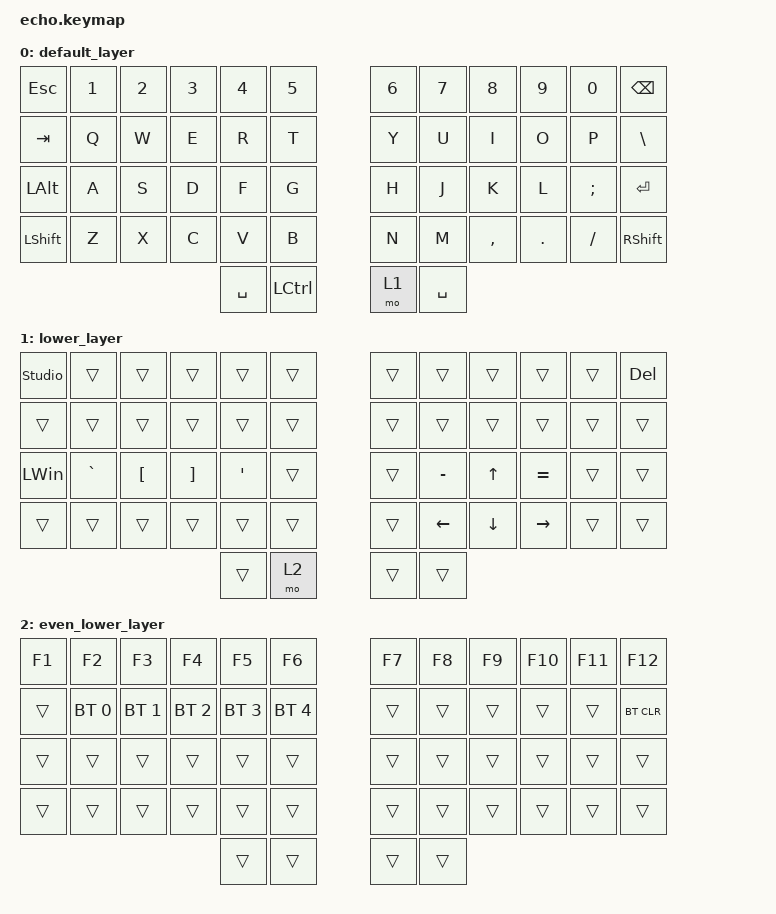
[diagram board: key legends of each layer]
#include <behaviors.dtsi>
#include <dt-bindings/zmk/keys.h>
#include <dt-bindings/zmk/bt.h>
#include <dt-bindings/zmk/outputs.h>


/ {
        keymap {
                compatible = "zmk,keymap";

                default_layer {
// ---------------------------------------------------------------------------------
// |   `  |  1  |  2  |  3  |  4  |  5  |     |  6  |  7  |  8  |  9  |  0  | BKSP |
// |  TAB |  Q  |  W  |  E  |  R  |  T  |     |  Y  |  U  |  I  |  O  |  P  |  \   |
// | CAPS |  A  |  S  |  D  |  F  |  G  |     |  H  |  J  |  K  |  L  |  ;  |  ENT |
// | SHFT |  Z  |  X  |  C  |  V  |  B  |     |  N  |  M  |  ,  |  .  |  /  | APOS |
//                          | SPC | SPC |     | SPC | LOW |
                        bindings = <
   &kp ESC    &kp N1    &kp N2    &kp N3     &kp N4     &kp N5               &kp N6     &kp N7  &kp N8     &kp N9    &kp N0    &kp BSPC
   &kp TAB    &kp Q     &kp W     &kp E      &kp R      &kp T                &kp Y      &kp U   &kp I      &kp O     &kp P     &kp BSLH
   &kp LALT   &kp A     &kp S     &kp D      &kp F      &kp G                &kp H      &kp J   &kp K      &kp L     &kp SEMI  &kp RET
   &kp LSHFT  &kp Z     &kp X     &kp C      &kp V      &kp B                &kp N      &kp M   &kp COMMA  &kp DOT   &kp FSLH  &kp RSHFT
                                             &kp SPACE  &kp LCTRL            &mo 1      &kp SPACE
                        >;
                };
                lower_layer {
// ------------------------------------------------------------------------------------------------------------
// |       |  BT1  |  BT2  |  BT3  |  BT4  |  BT5  |          |       |       |       |       |       | BTCLR |
// |       |       |       |       |       |       |          |       |       |       |       |       |       |
// |       |       |       | LPAR  | RPAR  |       |          |       | LBKT  | RBKT  |       |       |       |
//                                 |       |       |          |       |       |
                       bindings = <
   &studio_unlock  &trans         &trans         &trans         &trans         &trans                 &trans    &trans    &trans   &trans    &trans  &kp DEL
   &trans          &trans         &trans         &trans         &trans         &trans                 &trans    &trans    &trans   &trans    &trans  &trans
   &kp LWIN        &kp GRAVE      &kp LBKT       &kp RBKT       &kp SQT        &trans                 &trans    &kp MINUS &kp UP   &kp EQUAL &trans  &trans
   &trans          &trans         &trans         &trans         &trans         &trans                 &trans    &kp LEFT  &kp DOWN &kp RIGHT &trans  &trans
                                                                &trans         &mo 2                  &trans    &trans                        
                                                                >;
                };
                even_lower_layer {
// ------------------------------------------------------------------------------------------------------------
// |       |  BT1  |  BT2  |  BT3  |  BT4  |  BT5  |          |       |       |       |       |       | BTCLR |
// |       |       |       |       |       |       |          |       |       |       |       |       |       |
// |       |       |       | LPAR  | RPAR  |       |          |       | LBKT  | RBKT  |       |       |       |
//                                 |       |       |          |       |       |
                       bindings = <
   &kp F1    &kp F2         &kp F3         &kp F4         &kp F5         &kp F6                 &kp F7    &kp F8    &kp F9   &kp F10  &kp F11     &kp F12
   &trans    &bt BT_SEL 0   &bt BT_SEL 1   &bt BT_SEL 2   &bt BT_SEL 3   &bt BT_SEL 4           &trans    &trans    &trans   &trans   &trans      &bt BT_CLR
   &trans    &trans         &trans         &trans         &trans         &trans                 &trans    &trans    &trans   &trans   &trans      &trans
   &trans    &trans         &trans         &trans         &trans         &trans                 &trans    &trans    &trans   &trans   &trans      &trans
                                                          &trans         &trans                 &trans    &trans
                        >;
                };
       };
};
